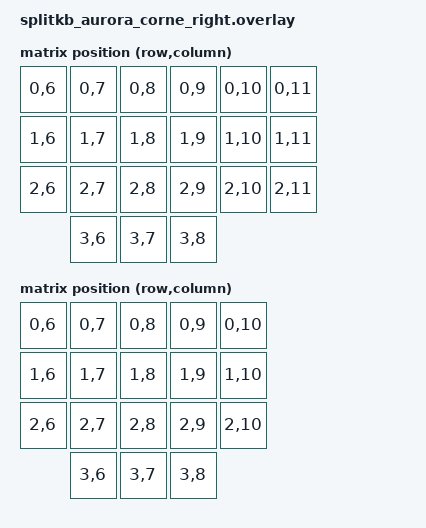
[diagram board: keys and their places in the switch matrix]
/*
 * Copyright (c) 2022 The ZMK Contributors
 *
 * SPDX-License-Identifier: MIT
 */

#include <dt-bindings/zmk/matrix_transform.h>

#include <boards/shields/corne/corne_right.dtsi>
#include <layouts/foostan/corne/5column.dtsi>
#include <layouts/foostan/corne/6column.dtsi>

&foostan_corne_6col_layout {
    transform = <&default_transform>;
};

&foostan_corne_5col_layout {
    transform = <&five_column_transform>;
};

/ {

    chosen {
        zmk,physical-layout = &foostan_corne_6col_layout;
    };

    default_transform: keymap_transform_0 {
        compatible = "zmk,matrix-transform";
        columns = <12>;
        rows = <4>;
// Right half only
// | SW6  | SW5  | SW4  | SW3  | SW2  | SW1  |
// | SW12 | SW11 | SW10 | SW9  | SW8  | SW7  |
// | SW18 | SW17 | SW16 | SW15 | SW14 | SW13 |
//       | SW21 | SW20 | SW19 |
        map = <
RC(0,6) RC(0,7) RC(0,8) RC(0,9) RC(0,10) RC(0,11)
RC(1,6) RC(1,7) RC(1,8) RC(1,9) RC(1,10) RC(1,11)
RC(2,6) RC(2,7) RC(2,8) RC(2,9) RC(2,10) RC(2,11)
        RC(3,6) RC(3,7) RC(3,8)
        >;
    };

    five_column_transform: keymap_transform_1 {
        compatible = "zmk,matrix-transform";
        columns = <10>;
        rows = <4>;
// Right half only (5 column variant)
// | SW6  | SW5  | SW4  | SW3  | SW2  |
// | SW12 | SW11 | SW10 | SW9  | SW8  |
// | SW18 | SW17 | SW16 | SW15 | SW14 |
//       | SW21 | SW20 | SW19 |
        map = <
RC(0,6) RC(0,7) RC(0,8) RC(0,9) RC(0,10)
RC(1,6) RC(1,7) RC(1,8) RC(1,9) RC(1,10)
RC(2,6) RC(2,7) RC(2,8) RC(2,9) RC(2,10)
        RC(3,6) RC(3,7) RC(3,8)
        >;
    };

};
